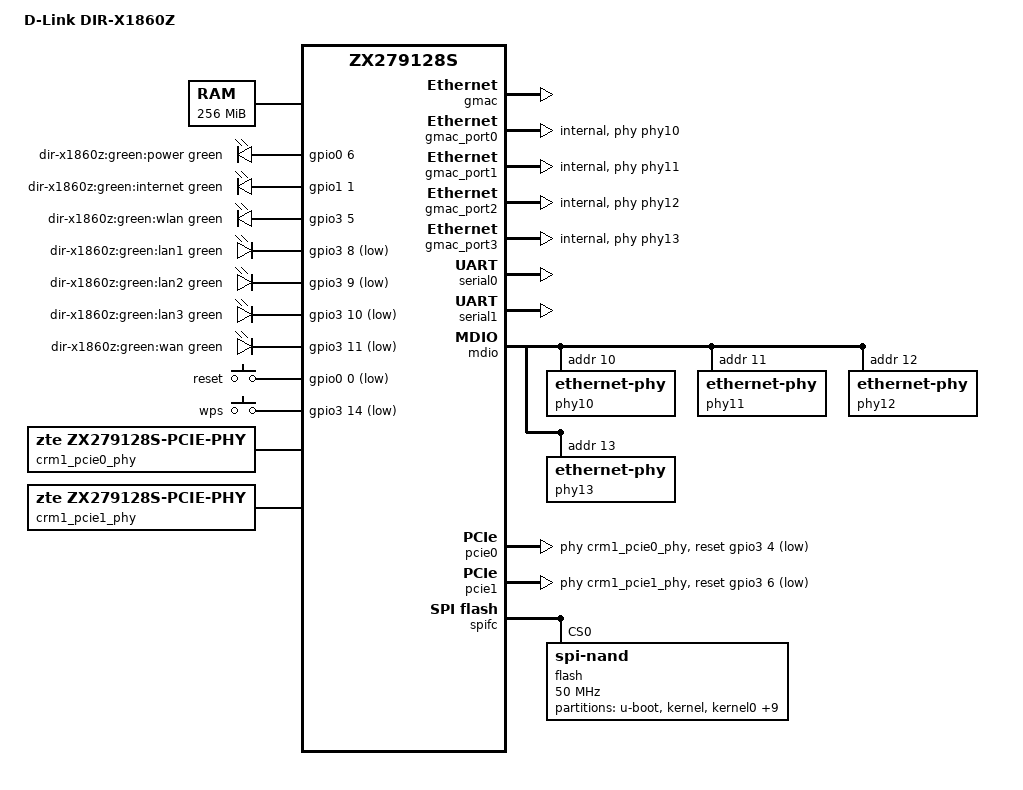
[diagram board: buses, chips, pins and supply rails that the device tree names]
// SPDX-License-Identifier: GPL-2.0-only OR BSD-2-Clause
/*
 * D-Link DIR-X1860Z (HW V1.0, TM / Unifi Malaysia AX1800 Wi-Fi 6 Router)
 * SoC       : Sanechips / ZTE ZX279128R (cputype=3, 128s family, dual Cortex-A9 @ 1 GHz, no VFP/NEON)
 * RAM       : 256 MiB DDR3
 * Flash     : 128 MiB 3.3V SPI-NAND (2 KiB page, 128 KiB eraseblock)
 * Wi-Fi     : MediaTek MT7905DAN + MT7975DN (MT7915 family, chip ID 0x7915, PCIe0 + PCIe1)
 * Ethernet  : 1x GbE WAN + 3x GbE LAN (4x integrated Sanechips GbE PHYs at MDIO 0xa..0xd)
 * Bootloader: U-Boot CTCRV1.0.7 (20220414131149, non-secure, 0x1E0 slot header + legacy uImage)
 *
 * All memory addresses, MTD partition offsets (from vmlinux 0xc0458638), MDIO PHY addresses
 * (from vmlinux uni_phy @ 0xc060b6e4 = {0x0d, 0x0a, 0x0b, 0x0c}), and GPIO tables
 * (from vmlinux 0xc05f42bc / 0xc05f48bc, Board ID 0x46 F628R / 0x47 F428S) were verified
 * directly from a full 128 MiB flash dump of a live unit.
 */

/dts-v1/;

#include "zte/zx279128s.dtsi"
#include <dt-bindings/gpio/gpio.h>
#include <dt-bindings/input/input.h>
#include <dt-bindings/leds/common.h>

/ {
	model = "D-Link DIR-X1860Z";
	compatible = "dlink,dir-x1860z", "dlink,dir-x3060z", "zte,zx279128r", "zte,zx279128s";

	aliases {
		ethernet0 = &gmac;
		serial0 = &serial0;
		serial1 = &serial1;
		led-boot = &led_power;
		led-failsafe = &led_power;
		led-running = &led_power;
		led-upgrade = &led_internet;
	};

	chosen {
		stdout-path = "serial0:115200n8";
	};

	memory@40000000 {
		device_type = "memory";
		reg = <0x40000000 0x10000000>; /* 256 MiB DDR3 */
	};

	leds {
		compatible = "gpio-leds";

		/*
		 * GPIO table verified from stock vmlinux.bin @ 0xc05f42bc (Board ID 0x46 F628R /
		 * 0x47 F428S) + bspdriver.ko (hw_led_wlan_mtk -> slot 61) + live hardware testing:
		 *   - Flat GPIO  6 (&gpio0  6): Output / Power LED (ACTIVE_HIGH, slot 53)
		 *   - Flat GPIO 17 (&gpio1  1): Output / IE / Internet LED (ACTIVE_HIGH, slot 4)
		 *   - Flat GPIO 53 (&gpio3  5): Output / Wi-Fi LED (ACTIVE_HIGH, slot 61)
		 *   - Flat GPIO 56..59 (&gpio3 8..11): Hardware-driven GbE LAN1..3 / WAN PHY LEDs
		 */
		led_power: led-power {
			label = "dir-x1860z:green:power";
			color = <LED_COLOR_ID_GREEN>;
			function = LED_FUNCTION_POWER;
			gpios = <&gpio0 6 GPIO_ACTIVE_HIGH>;
			default-state = "on";
		};

		led_internet: led-internet {
			label = "dir-x1860z:green:internet";
			color = <LED_COLOR_ID_GREEN>;
			function = LED_FUNCTION_WAN_ONLINE;
			gpios = <&gpio1 1 GPIO_ACTIVE_HIGH>;
			default-state = "off";
		};

		led_wlan: led-wlan {
			label = "dir-x1860z:green:wlan";
			color = <LED_COLOR_ID_GREEN>;
			function = LED_FUNCTION_WLAN;
			gpios = <&gpio3 5 GPIO_ACTIVE_HIGH>;
			default-state = "off";
		};

		led_lan1: led-lan1 {
			label = "dir-x1860z:green:lan1";
			color = <LED_COLOR_ID_GREEN>;
			function = LED_FUNCTION_LAN;
			gpios = <&gpio3 8 GPIO_ACTIVE_LOW>;
			default-state = "off";
		};

		led_lan2: led-lan2 {
			label = "dir-x1860z:green:lan2";
			color = <LED_COLOR_ID_GREEN>;
			function = LED_FUNCTION_LAN;
			gpios = <&gpio3 9 GPIO_ACTIVE_LOW>;
			default-state = "off";
		};

		led_lan3: led-lan3 {
			label = "dir-x1860z:green:lan3";
			color = <LED_COLOR_ID_GREEN>;
			function = LED_FUNCTION_LAN;
			gpios = <&gpio3 10 GPIO_ACTIVE_LOW>;
			default-state = "off";
		};

		led_wan_port: led-wan-port {
			label = "dir-x1860z:green:wan";
			color = <LED_COLOR_ID_GREEN>;
			function = LED_FUNCTION_WAN;
			gpios = <&gpio3 11 GPIO_ACTIVE_LOW>;
			default-state = "off";
		};
	};

	keys {
		/*
		 * Input pins from vmlinux @ 0xc05f42bc (Board ID 0x46/0x47):
		 *   - Flat GPIO  0 (&gpio0  0): Input 1 (Reset)
		 *   - Flat GPIO 62 (&gpio3 14): Input 2 (WPS / Mesh)
		 */
		compatible = "gpio-keys-polled";
		poll-interval = <50>;

		key-reset {
			label = "reset";
			gpios = <&gpio0 0 GPIO_ACTIVE_LOW>;
			linux,code = <KEY_RESTART>;
			debounce-interval = <60>;
		};

		key-wps {
			label = "wps";
			gpios = <&gpio3 14 GPIO_ACTIVE_LOW>;
			linux,code = <KEY_WPS_BUTTON>;
			debounce-interval = <60>;
		};
	};
};

&gmac {
	interrupts = <GIC_SPI 36 IRQ_TYPE_LEVEL_HIGH>,
		     <GIC_SPI 38 IRQ_TYPE_LEVEL_HIGH>;
	status = "okay";
};

&gmac_port0 {
	label = "wan";
	phy-handle = <&phy10>;
	phy-mode = "internal";
	status = "okay";
};

&gmac_port1 {
	label = "lan1";
	phy-handle = <&phy11>;
	phy-mode = "internal";
	status = "okay";
};

&gmac_port2 {
	label = "lan2";
	phy-handle = <&phy12>;
	phy-mode = "internal";
	status = "okay";
};

&gmac_port3 {
	label = "lan3";
	phy-handle = <&phy13>;
	phy-mode = "internal";
	status = "okay";
};

&gmac_port4 {
	status = "disabled";
};

&serial0 {
	status = "okay";
};

&serial1 {
	status = "okay";
};

&mdio {
	status = "okay";

	phy10: ethernet-phy@a {
		reg = <10>;
	};

	phy11: ethernet-phy@b {
		reg = <11>;
	};

	phy12: ethernet-phy@c {
		reg = <12>;
	};

	phy13: ethernet-phy@d {
		reg = <13>;
	};
};

/*
 * MediaTek MT7905DAN + MT7975DN (AX1800 Wi-Fi 6, chip ID 0x7915):
 *   PCIe0 (0000:00:00.0, mem 0x10000000, GIC 95) — reset GPIO 52 (&gpio3 4)
 *   PCIe1 (0000:01:00.0, mem 0x20000000, GIC 110) — reset GPIO 54 (&gpio3 6)
 * Calibration data is stored in mtd "wlan" (0x01500000) as /wlan/MT7915_EEPROM.bin (3,778 B).
 */
&pcie0 {
	reset-gpios = <&gpio3 4 GPIO_ACTIVE_LOW>;
	enable-gpios = <&gpio3 7 GPIO_ACTIVE_HIGH>;
	phys = <&crm1_pcie0_phy>;
	phy-names = "pcie";
	status = "okay";
};

&pcie1 {
	reset-gpios = <&gpio3 6 GPIO_ACTIVE_LOW>;
	phys = <&crm1_pcie1_phy>;
	phy-names = "pcie";
	status = "okay";
};

/ {
	soc {
		crm1: syscon@94000000 {
			compatible = "syscon", "simple-mfd";
			reg = <0x94000000 0x1000>;
			#address-cells = <1>;
			#size-cells = <0>;

			reboot {
				compatible = "syscon-reboot";
				offset = <0x44>;
				mask = <0x1>;
				value = <0x1>;
			};

			crm1_pcie0_phy: phy@0 {
				compatible = "zte,zx279128s-pcie-phy";
				reg = <0>;
				#phy-cells = <0>;
			};

			crm1_pcie1_phy: phy@1 {
				compatible = "zte,zx279128s-pcie-phy";
				reg = <1>;
				#phy-cells = <0>;
			};
		};
	};
};

&usb {
	status = "disabled";
};

&spifc {
	status = "okay";

	flash@0 {
		compatible = "spi-nand";
		reg = <0>;
		spi-max-frequency = <50000000>;
		spi-rx-bus-width = <2>;
		spi-tx-bus-width = <1>;

		/*
		 * Exact DIR-X1860Z hardware partition table from stock vmlinux.bin @ 0xc0458638:
		 *   0x00000000 .. 0x00200000 ( 2 MiB): u-boot          (stock mtd1)
		 *   0x00200000 .. 0x00700000 ( 5 MiB): kernel0         (stock mtd3, Slot 0 stock kernel)
		 *   0x00700000 .. 0x00c00000 ( 5 MiB): kernel1         (stock mtd4, Slot 1 OpenWrt kernel)
		 *   0x00c00000 .. 0x01400000 ( 8 MiB): usercfg         (stock mtd5, /userconfig JFFS2)
		 *   0x01400000 .. 0x01500000 ( 1 MiB): others          (stock mtd6, BootImageNum selector)
		 *   0x01500000 .. 0x01800000 ( 3 MiB): wlan            (stock mtd7, /wlan MT7915_EEPROM.bin)
		 *   0x01800000 .. 0x03800000 (32 MiB): rootfs0         (stock mtd8, Slot 0 stock rootfs)
		 *   0x03800000 .. 0x05800000 (32 MiB): rootfs1         (stock mtd9, Slot 1 OpenWrt rootfs)
		 *   0x05800000 .. 0x06000000 ( 8 MiB): framework       (stock mtd10)
		 *   0x06000000 .. 0x06800000 ( 8 MiB): framework1      (stock mtd11)
		 *   0x06800000 .. 0x06b00000 ( 3 MiB): parameter_tags  (stock mtd2, /tagparam JFFS2)
		 *   0x06b00000 .. 0x08000000 (21 MiB): apps            (stock mtd12, UBIFS)
		 *
		 * Because the stock DIR-X1860Z boots from Slot 0 (kernel0 @ 0x00200000 + rootfs0
		 * @ 0x01800000), upgrading via Web UI / fw_flashing installs OpenWrt into Slot 1
		 * (kernel1 @ 0x00700000 + rootfs1 @ 0x03800000), preserving Stock Slot 0 untouched
		 * and read-only for instant rollback via "others".
		 *
		 * u-boot, kernel (Slot 1), kernel0 (Slot 0), and rootfs (Slot 1 @ 0x03800000) are
		 * placed as the first four nodes so "rootfs" is /dev/mtdblock3 on BOTH routers.
		 */
		partitions {
			compatible = "fixed-partitions";
			#address-cells = <1>;
			#size-cells = <1>;

			partition@0 {
				label = "u-boot";
				reg = <0x00000000 0x00200000>;
				read-only;
			};

			partition@700000 {
				label = "kernel";
				reg = <0x00700000 0x00500000>;
			};

			partition@200000 {
				label = "kernel0";
				reg = <0x00200000 0x00500000>;
				read-only;
			};

			partition@3800000 {
				label = "rootfs";
				reg = <0x03800000 0x02000000>;
			};

			partition@1800000 {
				label = "rootfs0";
				reg = <0x01800000 0x02000000>;
				read-only;
			};

			partition@c00000 {
				label = "usercfg";
				reg = <0x00c00000 0x00800000>;
				read-only;
			};

			partition@1400000 {
				/* Holds BootImageNum dual-slot selector */
				label = "others";
				reg = <0x01400000 0x00100000>;
			};

			partition@1500000 {
				/* JFFS2 mounted by vendor at /wlan; holds MT7915_EEPROM.bin */
				label = "wlan";
				reg = <0x01500000 0x00300000>;
			};

			partition@5800000 {
				label = "framework";
				reg = <0x05800000 0x00800000>;
				read-only;
			};

			partition@6000000 {
				label = "framework1";
				reg = <0x06000000 0x00800000>;
				read-only;
			};

			partition@6800000 {
				/* JFFS2 mounted by vendor at /tagparam; holds paramtag (MACs) */
				label = "tagparam";
				reg = <0x06800000 0x00300000>;
			};

			partition@6b00000 {
				label = "apps";
				reg = <0x06b00000 0x01500000>;
			};
		};
	};
};

&l2cc {
	zte,l2c-io-read-lock;
};

/ {
	soc {
		soc_thermal: temp@94100034 {
			compatible = "zxic,tempsensor";
			reg = <0x94100034 0xc>;
			#thermal-sensor-cells = <0>;
		};
	};
	thermal-zones {
		soc-thermal {
			polling-delay-passive = <2000>;
			polling-delay = <5000>;
			thermal-sensors = <&soc_thermal>;

			trips {
				soc_crit: crit {
					temperature = <110000>;
					hysteresis = <5000>;
					type = "critical";
				};
			};
		};
	};
};
